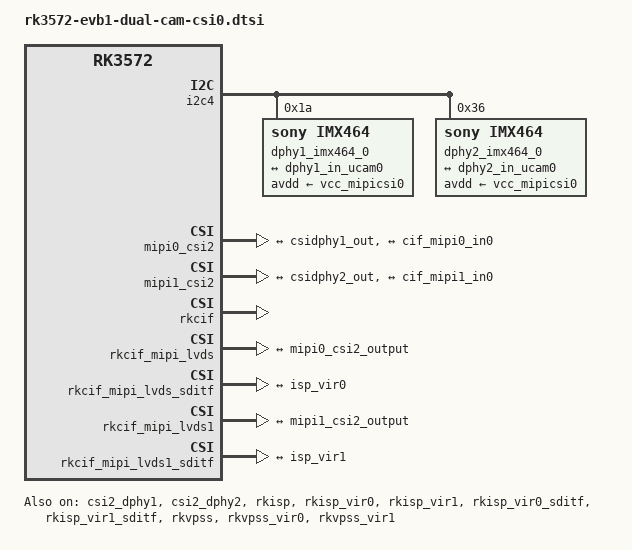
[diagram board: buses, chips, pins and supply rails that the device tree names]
// SPDX-License-Identifier: (GPL-2.0+ OR MIT)
/*
 * Copyright (c) 2026 Rockchip Electronics Co., Ltd.
 *
 */

&csi2_dphy1 {
	status = "okay";

	ports {
		#address-cells = <1>;
		#size-cells = <0>;
		port@0 {
			reg = <0>;
			#address-cells = <1>;
			#size-cells = <0>;

			dphy1_in_ucam0: endpoint@1 {
				reg = <1>;
				remote-endpoint = <&dphy1_imx464_out0>;
				data-lanes = <1 2>;
			};
		};
		port@1 {
			reg = <1>;
			#address-cells = <1>;
			#size-cells = <0>;

			csidphy1_out: endpoint@0 {
				reg = <0>;
				remote-endpoint = <&mipi0_csi2_input>;
			};
		};
	};
};

&csi2_dphy2 {
	status = "okay";

	ports {
		#address-cells = <1>;
		#size-cells = <0>;
		port@0 {
			reg = <0>;
			#address-cells = <1>;
			#size-cells = <0>;

			dphy2_in_ucam0: endpoint@3 {
				reg = <3>;
				remote-endpoint = <&dphy2_imx464_out0>;
				data-lanes = <1 2>;
			};

		};
		port@1 {
			reg = <1>;
			#address-cells = <1>;
			#size-cells = <0>;

			csidphy2_out: endpoint@0 {
				reg = <0>;
				remote-endpoint = <&mipi1_csi2_input>;
			};
		};
	};
};

&i2c4 {
	status = "okay";
	pinctrl-0 = <&i2c4m3_xfer_pins>, <&cam_clk0m0_clk0_pins>;
	pinctrl-names = "default";

	dphy1_imx464_0: dphy1-imx464-0@1a {
		compatible = "sony,imx464";
		status = "okay";
		reg = <0x1a>;
		clocks = <&cru CAM_CLK0_OUT_IOUT>;
		clock-names = "xvclk";
		power-domains = <&power RK3572_PD_VI>;
		/* reset need connect to dovdd */
		avdd-supply = <&vcc_mipicsi0>;
		rockchip,camera-module-index = <0>;
		rockchip,camera-module-facing = "back";
		rockchip,camera-module-name = "CMK-OT1980-PX1";
		rockchip,camera-module-lens-name = "SHG102";
		port {
			dphy1_imx464_out0: endpoint {
				remote-endpoint = <&dphy1_in_ucam0>;
				data-lanes = <1 2>;
			};
		};
	};

	dphy2_imx464_0: dphy2-imx464-0@36 {
		compatible = "sony,imx464";
		status = "okay";
		reg = <0x36>;
		clocks = <&cru CAM_CLK0_OUT_IOUT>;
		clock-names = "xvclk";
		power-domains = <&power RK3572_PD_VI>;
		/* reset need connect to dovdd */
		avdd-supply = <&vcc_mipicsi0>;
		rockchip,camera-module-index = <1>;
		rockchip,camera-module-facing = "back";
		rockchip,camera-module-name = "CMK-OT1980-PX1";
		rockchip,camera-module-lens-name = "SHG102";
		port {
			dphy2_imx464_out0: endpoint {
				remote-endpoint = <&dphy2_in_ucam0>;
				data-lanes = <1 2>;
			};
		};
	};
};

&mipi0_csi2 {
	status = "okay";

	ports {
		#address-cells = <1>;
		#size-cells = <0>;

		port@0 {
			reg = <0>;
			#address-cells = <1>;
			#size-cells = <0>;

			mipi0_csi2_input: endpoint@1 {
				reg = <1>;
				remote-endpoint = <&csidphy1_out>;
			};
		};

		port@1 {
			reg = <1>;
			#address-cells = <1>;
			#size-cells = <0>;

			mipi0_csi2_output: endpoint@0 {
				reg = <0>;
				remote-endpoint = <&cif_mipi0_in0>;
			};
		};
	};
};

&mipi1_csi2 {
	status = "okay";

	ports {
		#address-cells = <1>;
		#size-cells = <0>;

		port@0 {
			reg = <0>;
			#address-cells = <1>;
			#size-cells = <0>;

			mipi1_csi2_input: endpoint@1 {
				reg = <1>;
				remote-endpoint = <&csidphy2_out>;
			};
		};

		port@1 {
			reg = <1>;
			#address-cells = <1>;
			#size-cells = <0>;

			mipi1_csi2_output: endpoint@0 {
				reg = <0>;
				remote-endpoint = <&cif_mipi1_in0>;
			};
		};
	};
};

&rkcif {
	status = "okay";
};

&rkcif_mipi_lvds {
	status = "okay";

	port {
		cif_mipi0_in0: endpoint {
			remote-endpoint = <&mipi0_csi2_output>;
		};
	};
};

&rkcif_mipi_lvds_sditf {
	status = "okay";

	port {
		mipi0_lvds_sditf: endpoint {
			remote-endpoint = <&isp_vir0>;
		};
	};
};

&rkcif_mipi_lvds1 {
	status = "okay";

	port {
		cif_mipi1_in0: endpoint {
			remote-endpoint = <&mipi1_csi2_output>;
		};
	};
};

&rkcif_mipi_lvds1_sditf {
	status = "okay";

	port {
		mipi1_lvds_sditf: endpoint {
			remote-endpoint = <&isp_vir1>;
		};
	};
};

&rkcif_mmu {
	status = "okay";
};

&rkisp {
	status = "okay";
};

&rkisp_mmu {
	status = "okay";
};

&rkisp_vir0 {
	status = "okay";

	port {
		#address-cells = <1>;
		#size-cells = <0>;

		isp_vir0: endpoint@0 {
			reg = <0>;
			remote-endpoint = <&mipi0_lvds_sditf>;
		};
	};
};

&rkisp_vir1 {
	status = "okay";

	port {
		#address-cells = <1>;
		#size-cells = <0>;

		isp_vir1: endpoint@0 {
			reg = <0>;
			remote-endpoint = <&mipi1_lvds_sditf>;
		};
	};
};

&rkisp_vir0_sditf {
	status = "okay";
};

&rkisp_vir1_sditf {
	status = "okay";
};

&rkvpss {
	status = "okay";
};

&rkvpss_mmu {
	status = "okay";
};

&rkvpss_vir0 {
	status = "okay";
};

&rkvpss_vir1 {
	status = "okay";
};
